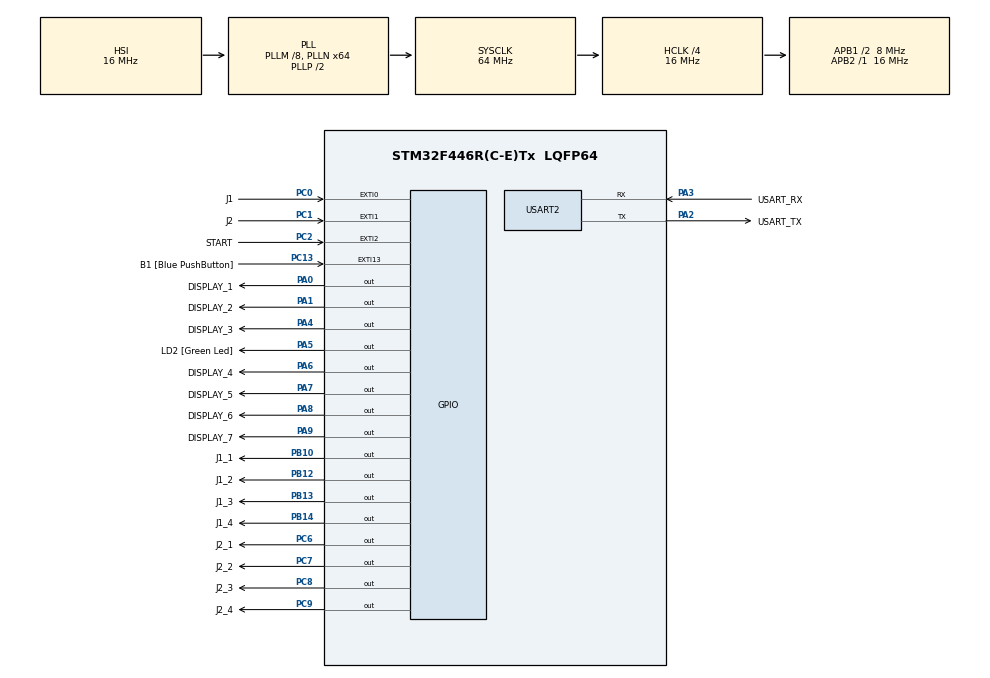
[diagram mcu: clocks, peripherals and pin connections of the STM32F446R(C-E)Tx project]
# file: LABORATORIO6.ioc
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Mcu.Family=STM32F4
Mcu.Name=STM32F446R(C-E)Tx
Mcu.Package=LQFP64
NVIC.EXTI0_IRQn=true\:0\:3\:false\:false\:true\:true\:true\:true
NVIC.EXTI1_IRQn=true\:0\:4\:false\:false\:true\:true\:true\:true
NVIC.EXTI2_IRQn=true\:0\:5\:false\:false\:true\:true\:true\:true
NVIC.PriorityGroup=NVIC_PRIORITYGROUP_0
NVIC.TIM1_BRK_TIM9_IRQn=true\:0\:1\:false\:false\:true\:true\:true\:true
NVIC.TIM1_UP_TIM10_IRQn=true\:0\:2\:false\:false\:true\:true\:true\:true
PA0-WKUP.GPIO_Label=DISPLAY_1
PA0-WKUP.PinState=GPIO_PIN_RESET
PA0-WKUP.Signal=GPIO_Output
PA1.GPIO_Label=DISPLAY_2
PA1.Signal=GPIO_Output
PA13.GPIO_Label=TMS
PA13.Mode=Serial_Wire
PA13.Signal=SYS_JTMS-SWDIO
PA14.GPIO_Label=TCK
PA14.Mode=Serial_Wire
PA14.Signal=SYS_JTCK-SWCLK
PA2.GPIO_Label=USART_TX
PA2.Mode=Asynchronous
PA2.Signal=USART2_TX
PA3.GPIO_Label=USART_RX
PA3.Mode=Asynchronous
PA3.Signal=USART2_RX
PA4.GPIO_Label=DISPLAY_3
PA4.Signal=GPIO_Output
PA5.GPIO_Label=LD2 [Green Led]
PA5.Signal=GPIO_Output
PA6.GPIO_Label=DISPLAY_4
PA6.Signal=GPIO_Output
PA7.GPIO_Label=DISPLAY_5
PA7.Signal=GPIO_Output
PA8.GPIO_Label=DISPLAY_6
PA8.Signal=GPIO_Output
PA9.GPIO_Label=DISPLAY_7
PA9.Signal=GPIO_Output
PB10.GPIO_Label=J1_1
PB10.Signal=GPIO_Output
PB12.GPIO_Label=J1_2
PB12.Signal=GPIO_Output
PB13.GPIO_Label=J1_3
PB13.Signal=GPIO_Output
PB14.GPIO_Label=J1_4
PB14.Signal=GPIO_Output
PB3.GPIO_Label=SWO
PB3.Signal=SYS_JTDO-SWO
PC0.GPIO_Label=J1
PC0.GPIO_ModeDefaultEXTI=GPIO_MODE_IT_FALLING
PC0.GPIO_PuPd=GPIO_PULLUP
PC0.Signal=GPXTI0
PC1.GPIO_Label=J2
PC1.GPIO_ModeDefaultEXTI=GPIO_MODE_IT_FALLING
PC1.GPIO_PuPd=GPIO_PULLUP
PC1.Signal=GPXTI1
PC13.GPIO_Label=B1 [Blue PushButton]
PC13.GPIO_ModeDefaultEXTI=GPIO_MODE_IT_FALLING
PC13.Signal=GPXTI13
PC14-OSC32_IN.Mode=LSE-External-Oscillator
PC14-OSC32_IN.Signal=RCC_OSC32_IN
PC15-OSC32_OUT.Mode=LSE-External-Oscillator
PC15-OSC32_OUT.Signal=RCC_OSC32_OUT
PC2.GPIO_Label=START
PC2.GPIO_ModeDefaultEXTI=GPIO_MODE_IT_FALLING
PC2.GPIO_PuPd=GPIO_PULLUP
PC2.Signal=GPXTI2
PC6.GPIO_Label=J2_1
PC6.Signal=GPIO_Output
PC7.GPIO_Label=J2_2
PC7.Signal=GPIO_Output
PC8.GPIO_Label=J2_3
PC8.Signal=GPIO_Output
PC9.GPIO_Label=J2_4
PC9.Signal=GPIO_Output
PH0-OSC_IN.Mode=HSE-External-Oscillator
PH0-OSC_IN.Signal=RCC_OSC_IN
PH1-OSC_OUT.Mode=HSE-External-Oscillator
PH1-OSC_OUT.Signal=RCC_OSC_OUT
ProjectManager.HeapSize=0x200
ProjectManager.StackSize=0x400
ProjectManager.TargetToolchain=STM32CubeIDE
RCC.48MHZClocksFreq_Value=84000000
RCC.AHBCLKDivider=RCC_SYSCLK_DIV4
RCC.AHBFreq_Value=16000000
RCC.APB1CLKDivider=RCC_HCLK_DIV2
RCC.APB1Freq_Value=8000000
RCC.APB1TimFreq_Value=16000000
RCC.APB2Freq_Value=16000000
RCC.APB2TimFreq_Value=16000000
RCC.CortexFreq_Value=16000000
RCC.FLatency-AdvancedSettings=FLASH_LATENCY_0
RCC.HCLKFreq_Value=16000000
RCC.HSE_VALUE=8000000
RCC.HSI_VALUE=16000000
RCC.PLLM=8
RCC.PLLN=64
RCC.SYSCLKFreq_VALUE=64000000
RCC.SYSCLKSource=RCC_SYSCLKSOURCE_PLLCLK
RCC.USBFreq_Value=64000000
RCC.VCOOutputFreq_Value=128000000
TIM1.Period=499
TIM1.Prescaler=1600
USART2.VirtualMode=VM_ASYNC
VP_TIM1_VS_ClockSourceINT.Mode=Internal
board=NUCLEO-F446RE

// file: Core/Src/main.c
/* USER CODE BEGIN Header */
/**
  ******************************************************************************
  * @file           : main.c
  * @brief          : Main program body
  ******************************************************************************
  * @attention
  *
  * Copyright (c) 2026 STMicroelectronics.
  * All rights reserved.
  *
  * This software is licensed under terms that can be found in the LICENSE file
  * in the root directory of this software component.
  * If no LICENSE file comes with this software, it is provided AS-IS.
  *
  ******************************************************************************
  */
/* USER CODE END Header */
#include "main.h"

/* USER CODE BEGIN Includes */
#include <stdio.h>
#include <stdbool.h>
#include "DISPLAY_7SEG.h"
/* USER CODE END Includes */

TIM_HandleTypeDef htim1;

UART_HandleTypeDef huart2;

/* USER CODE BEGIN PV */
uint8_t J1 = 0x00;
uint8_t J2 = 0x00;
bool Play_time = false;

uint16_t contador_ms = 0;
uint8_t DISPLAY_VALUE = 5;
uint8_t ESTADO_DISPLAY = 0;

uint16_t J1ANTI = 0;
uint16_t J2ANTI = 0;
uint16_t STARTANTI = 0;

/* USER CODE END PV */

void SystemClock_Config(void);
static void MX_GPIO_Init(void);
static void MX_TIM1_Init(void);
static void MX_USART2_UART_Init(void);

/* USER CODE BEGIN 0 */
/* USER CODE BEGIN 0 */
void MUESTRA_LEDS(void){
    //MUESTRA DE LEDS PARA EL JUGADOR 1
    HAL_GPIO_WritePin(GPIOB, J1_1_Pin, (J1 == 1));
    HAL_GPIO_WritePin(GPIOB, J1_2_Pin, (J1 == 2));
    HAL_GPIO_WritePin(GPIOB, J1_3_Pin, (J1 == 3));
    HAL_GPIO_WritePin(GPIOB, J1_4_Pin, (J1 == 4));

    //MUESTRA DE LEDS PARA EL JUGADOR 2
    HAL_GPIO_WritePin(GPIOC, J2_1_Pin, (J2 == 1));
    HAL_GPIO_WritePin(GPIOC, J2_2_Pin, (J2 == 2));
    HAL_GPIO_WritePin(GPIOC, J2_3_Pin, (J2 == 3));
    HAL_GPIO_WritePin(GPIOC, J2_4_Pin, (J2 == 4));
}
/* USER CODE END 0 */

/* USER CODE END 0 */

int main(void)
{

  /* MCU Configuration--------------------------------------------------------*/

  /* Reset of all peripherals, Initializes the Flash interface and the Systick. */
  HAL_Init();

  /* Configure the system clock */
  SystemClock_Config();

  /* Initialize all configured peripherals */
  MX_GPIO_Init();
  MX_TIM1_Init();
  MX_USART2_UART_Init();
  /* USER CODE BEGIN 2 */
  mostrar_display(5);

  /* USER CODE END 2 */

  /* Infinite loop */
  /* USER CODE BEGIN WHILE */
  while (1)
  {

	  if (ESTADO_DISPLAY == 1)
	  	{
	  		Play_time = false;
	  		J1 = 0;
	  		J2 = 0;
	  		MUESTRA_LEDS();

	  		for(int8_t i = 5; i>= 0; i--)
	  		{
	  			mostrar_display(i);
	  			HAL_Delay(1000);
	  		}

	  		Play_time = true;
	  		ESTADO_DISPLAY = 0;
	  		HAL_GPIO_WritePin(GPIOA, LD2_Pin, GPIO_PIN_SET);
	  	}

	  if(J1 >= 5 || J2 >= 5)
	      {
	          Play_time = false;
	          HAL_GPIO_WritePin(GPIOA, LD2_Pin, GPIO_PIN_RESET);

	          //MOSTRAR NUMEROS DEL DISPLAY
	          mostrar_display(J1 >= 5 ? 1 : 2);

	          //ENCENDER TODOSL OS LEDS DEL GANADOR
	          if(J1 >= 5)
	          {
	              HAL_GPIO_WritePin(GPIOB, J1_1_Pin|J1_2_Pin|J1_3_Pin|J1_4_Pin);
	          }
	          else
	          {
	              HAL_GPIO_WritePin(GPIOC, J2_1_Pin|J2_2_Pin|J2_3_Pin|J2_4_Pin);
	          }
	      }

    /* USER CODE END WHILE */

  }
}

void SystemClock_Config(void)
{
  RCC_OscInitTypeDef RCC_OscInitStruct = {0};
  RCC_ClkInitTypeDef RCC_ClkInitStruct = {0};

  /** Configure the main internal regulator output voltage
  */
  __HAL_RCC_PWR_CLK_ENABLE();
  __HAL_PWR_VOLTAGESCALING_CONFIG(PWR_REGULATOR_VOLTAGE_SCALE3);

  /** Initializes the RCC Oscillators according to the specified parameters
  * in the RCC_OscInitTypeDef structure.
  */
  RCC_OscInitStruct.OscillatorType = RCC_OSCILLATORTYPE_HSI;
  RCC_OscInitStruct.HSIState = RCC_HSI_ON;
  RCC_OscInitStruct.HSICalibrationValue = RCC_HSICALIBRATION_DEFAULT;
  RCC_OscInitStruct.PLL.PLLState = RCC_PLL_ON;
  RCC_OscInitStruct.PLL.PLLSource = RCC_PLLSOURCE_HSI;
  RCC_OscInitStruct.PLL.PLLM = 8;
  RCC_OscInitStruct.PLL.PLLN = 64;
  RCC_OscInitStruct.PLL.PLLP = RCC_PLLP_DIV2;
  RCC_OscInitStruct.PLL.PLLQ = 2;
  RCC_OscInitStruct.PLL.PLLR = 2;
  if (HAL_RCC_OscConfig(&RCC_OscInitStruct) != HAL_OK)
  {
    Error_Handler();
  }

  /** Initializes the CPU, AHB and APB buses clocks
  */
  RCC_ClkInitStruct.ClockType = RCC_CLOCKTYPE_HCLK|RCC_CLOCKTYPE_SYSCLK
                              |RCC_CLOCKTYPE_PCLK1|RCC_CLOCKTYPE_PCLK2;
  RCC_ClkInitStruct.SYSCLKSource = RCC_SYSCLKSOURCE_PLLCLK;
  RCC_ClkInitStruct.AHBCLKDivider = RCC_SYSCLK_DIV4;
  RCC_ClkInitStruct.APB1CLKDivider = RCC_HCLK_DIV2;
  RCC_ClkInitStruct.APB2CLKDivider = RCC_HCLK_DIV1;

  if (HAL_RCC_ClockConfig(&RCC_ClkInitStruct, FLASH_LATENCY_0) != HAL_OK)
  {
    Error_Handler();
  }
}

static void MX_TIM1_Init(void)
{

  TIM_ClockConfigTypeDef sClockSourceConfig = {0};
  TIM_MasterConfigTypeDef sMasterConfig = {0};

  htim1.Instance = TIM1;
  htim1.Init.Prescaler = 1600;
  htim1.Init.CounterMode = TIM_COUNTERMODE_UP;
  htim1.Init.Period = 499;
  htim1.Init.ClockDivision = TIM_CLOCKDIVISION_DIV1;
  htim1.Init.RepetitionCounter = 0;
  htim1.Init.AutoReloadPreload = TIM_AUTORELOAD_PRELOAD_DISABLE;
  if (HAL_TIM_Base_Init(&htim1) != HAL_OK)
  {
    Error_Handler();
  }
  sClockSourceConfig.ClockSource = TIM_CLOCKSOURCE_INTERNAL;
  if (HAL_TIM_ConfigClockSource(&htim1, &sClockSourceConfig) != HAL_OK)
  {
    Error_Handler();
  }
  sMasterConfig.MasterOutputTrigger = TIM_TRGO_RESET;
  sMasterConfig.MasterSlaveMode = TIM_MASTERSLAVEMODE_DISABLE;
  if (HAL_TIMEx_MasterConfigSynchronization(&htim1, &sMasterConfig) != HAL_OK)
  {
    Error_Handler();
  }

}

static void MX_USART2_UART_Init(void)
{

  huart2.Instance = USART2;
  huart2.Init.BaudRate = 115200;
  huart2.Init.WordLength = UART_WORDLENGTH_8B;
  huart2.Init.StopBits = UART_STOPBITS_1;
  huart2.Init.Parity = UART_PARITY_NONE;
  huart2.Init.Mode = UART_MODE_TX_RX;
  huart2.Init.HwFlowCtl = UART_HWCONTROL_NONE;
  huart2.Init.OverSampling = UART_OVERSAMPLING_16;
  if (HAL_UART_Init(&huart2) != HAL_OK)
  {
    Error_Handler();
  }

}

static void MX_GPIO_Init(void)
{
  GPIO_InitTypeDef GPIO_InitStruct = {0};

  /* GPIO Ports Clock Enable */
  __HAL_RCC_GPIOC_CLK_ENABLE();
  __HAL_RCC_GPIOH_CLK_ENABLE();
  __HAL_RCC_GPIOA_CLK_ENABLE();
  __HAL_RCC_GPIOB_CLK_ENABLE();

  /*Configure GPIO pin Output Level */
  HAL_GPIO_WritePin(GPIOA, DISPLAY_1_Pin|DISPLAY_2_Pin|DISPLAY_3_Pin|LD2_Pin
                          |DISPLAY_4_Pin|DISPLAY_5_Pin|DISPLAY_6_Pin|DISPLAY_7_Pin, GPIO_PIN_RESET);

  /*Configure GPIO pin Output Level */
  HAL_GPIO_WritePin(GPIOB, J1_1_Pin|J1_2_Pin|J1_3_Pin|J1_4_Pin, GPIO_PIN_RESET);

  /*Configure GPIO pin Output Level */
  HAL_GPIO_WritePin(GPIOC, J2_1_Pin|J2_2_Pin|J2_3_Pin|J2_4_Pin, GPIO_PIN_RESET);

  /*Configure GPIO pin : B1_Pin */
  GPIO_InitStruct.Pin = B1_Pin;
  GPIO_InitStruct.Mode = GPIO_MODE_IT_FALLING;
  GPIO_InitStruct.Pull = GPIO_NOPULL;
  HAL_GPIO_Init(B1_GPIO_Port, &GPIO_InitStruct);

  /*Configure GPIO pins : J1_Pin J2_Pin START_Pin */
  GPIO_InitStruct.Pin = J1_Pin|J2_Pin|START_Pin;
  GPIO_InitStruct.Mode = GPIO_MODE_IT_FALLING;
  GPIO_InitStruct.Pull = GPIO_PULLUP;
  HAL_GPIO_Init(GPIOC, &GPIO_InitStruct);

  /*Configure GPIO pins : DISPLAY_1_Pin DISPLAY_2_Pin DISPLAY_3_Pin LD2_Pin
                           DISPLAY_4_Pin DISPLAY_5_Pin DISPLAY_6_Pin DISPLAY_7_Pin */
  GPIO_InitStruct.Pin = DISPLAY_1_Pin|DISPLAY_2_Pin|DISPLAY_3_Pin|LD2_Pin
                          |DISPLAY_4_Pin|DISPLAY_5_Pin|DISPLAY_6_Pin|DISPLAY_7_Pin;
  GPIO_InitStruct.Mode = GPIO_MODE_OUTPUT_PP;
  GPIO_InitStruct.Pull = GPIO_NOPULL;
  GPIO_InitStruct.Speed = GPIO_SPEED_FREQ_LOW;
  HAL_GPIO_Init(GPIOA, &GPIO_InitStruct);

  /*Configure GPIO pins : J1_1_Pin J1_2_Pin J1_3_Pin J1_4_Pin */
  GPIO_InitStruct.Pin = J1_1_Pin|J1_2_Pin|J1_3_Pin|J1_4_Pin;
  GPIO_InitStruct.Mode = GPIO_MODE_OUTPUT_PP;
  GPIO_InitStruct.Pull = GPIO_NOPULL;
  GPIO_InitStruct.Speed = GPIO_SPEED_FREQ_LOW;
  HAL_GPIO_Init(GPIOB, &GPIO_InitStruct);

  /*Configure GPIO pins : J2_1_Pin J2_2_Pin J2_3_Pin J2_4_Pin */
  GPIO_InitStruct.Pin = J2_1_Pin|J2_2_Pin|J2_3_Pin|J2_4_Pin;
  GPIO_InitStruct.Mode = GPIO_MODE_OUTPUT_PP;
  GPIO_InitStruct.Pull = GPIO_NOPULL;
  GPIO_InitStruct.Speed = GPIO_SPEED_FREQ_LOW;
  HAL_GPIO_Init(GPIOC, &GPIO_InitStruct);

  /* EXTI interrupt init*/
  HAL_NVIC_SetPriority(EXTI0_IRQn, 0, 3);
  HAL_NVIC_EnableIRQ(EXTI0_IRQn);

  HAL_NVIC_SetPriority(EXTI1_IRQn, 0, 4);
  HAL_NVIC_EnableIRQ(EXTI1_IRQn);

  HAL_NVIC_SetPriority(EXTI2_IRQn, 0, 5);
  HAL_NVIC_EnableIRQ(EXTI2_IRQn);

}

/* USER CODE BEGIN 4 */

void HAL_GPIO_EXTI_Callback(uint16_t GPIO_Pin)
{
	if(GPIO_Pin == START_Pin && STARTANTI == 0)
	{
		ESTADO_DISPLAY = 1;
		STARTANTI = 200;
		HAL_TIM_Base_Start_IT(&htim1);
	}
	else if(Play_time)
	{
		if (GPIO_Pin == J1_Pin && J1ANTI == 0 && J1 < 5) {
		            J1++;
		            MUESTRA_LEDS();
		            J1ANTI = 200;
		            HAL_TIM_Base_Start_IT(&htim1);
		        }
		if (GPIO_Pin == J2_Pin && J2ANTI == 0 && J2 < 5) {
		            J2++;
		            MUESTRA_LEDS();
		            J2ANTI = 200;
		            HAL_TIM_Base_Start_IT(&htim1);
		        }

	}

}

void HAL_TIM_PeriodElapsedCallback(TIM_HandleTypeDef *htim) {

    if (htim->Instance == TIM1)
    {
        if (J1ANTI > 0) J1ANTI = (J1ANTI > 50) ? J1ANTI - 50 : 0;
        if (J2ANTI > 0) J2ANTI = (J2ANTI > 50) ? J2ANTI - 50 : 0;
        if (STARTANTI > 0) STARTANTI = (STARTANTI > 50) ? STARTANTI - 50 : 0;

        if (J1ANTI == 0 && J2ANTI == 0 && STARTANTI == 0)
        {
            HAL_TIM_Base_Stop_IT(&htim1);
        }
    }
}

/* USER CODE END 4 */

void Error_Handler(void)
{
  __disable_irq();
  while (1)
  {
  }
}
